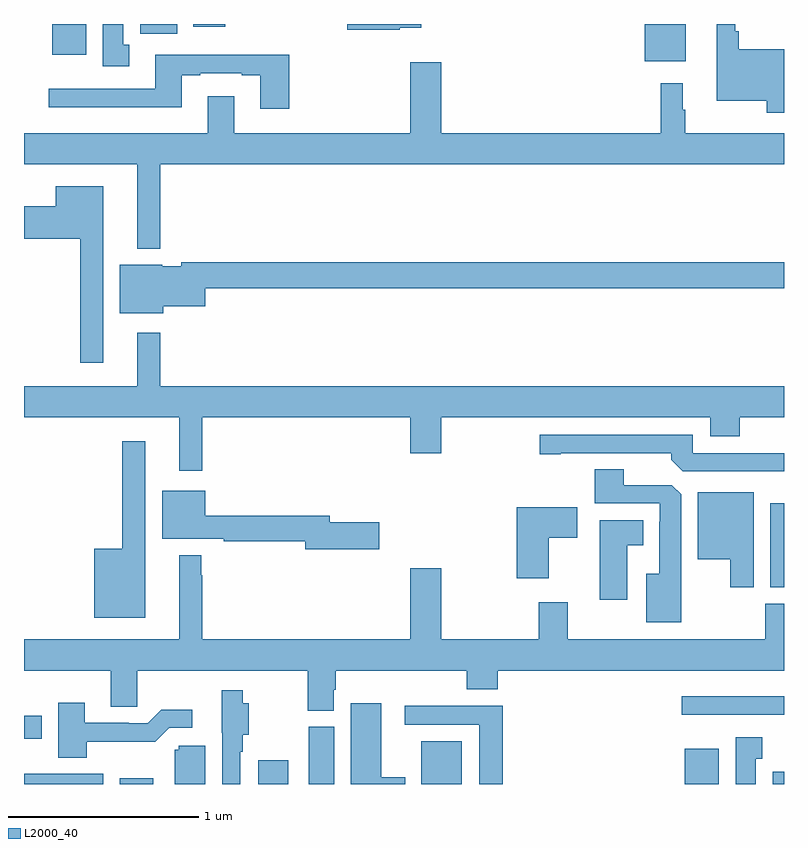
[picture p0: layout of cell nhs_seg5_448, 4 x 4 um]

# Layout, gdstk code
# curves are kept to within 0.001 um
import gdstk
lib = gdstk.Library(unit=1e-6, precision=1e-09)
def R(c, l, rs):  # rectangles x0, y0, x1, y1
    for r in rs: c.add(gdstk.rectangle(r[:2], r[2:], *l))
def P(c, l, *ps):  # polygons
    for p in ps: c.add(gdstk.Polygon(p, *l))
L2000_40 = (2000, 40)

nhs_seg5_448 = lib.new_cell('nhs_seg5_448')
R(nhs_seg5_448, L2000_40, [(139,886.799,139.418,886.852), (139.503,886.799,139.681,886.828), (140.234,886.799,140.392,886.924), (140.498,886.799,140.632,887.1), (141.092,886.799,141.304,887.023), (142.478,886.799,142.657,886.984), (142.94,886.799,143,886.864), (139,887.036,139.093,887.158), (142.461,887.163,143,887.26), (142.928,887.834,143,888.277), (142.268,890.603,142.483,890.799), (139.148,890.636,139.327,890.799), (139.611,890.748,139.807,890.799), (139.892,890.784,140.059,890.799)])
P(nhs_seg5_448, L2000_40, [(139.555,890.689),(139.522,890.689),(139.522,890.799),(139.415,890.799),(139.415,890.577),(139.555,890.577)],
  [(143,890.665),(142.763,890.665),(142.763,890.761),(142.744,890.761),(142.744,890.799),(142.646,890.799),(142.646,890.396),(142.908,890.396),(142.908,890.331),(143,890.331)],
  [(140.978,890.78),(141.091,890.78),(141.091,890.799),(140.702,890.799),(140.702,890.768),(140.978,890.768)],
  [(140.396,890.638),(139.691,890.638),(139.691,890.457),(139.131,890.457),(139.131,890.36),(139.831,890.36),(139.831,890.529),(139.927,890.529),(139.927,890.541),(140.147,890.541),(140.147,890.529),(140.243,890.529),(140.243,890.352),(140.396,890.352)],
  [(143,890.224),(142.48,890.224),(142.48,890.348),(142.468,890.348),(142.468,890.488),(142.351,890.488),(142.351,890.224),(141.196,890.224),(141.196,890.599),(141.032,890.599),(141.032,890.224),(140.107,890.224),(140.107,890.419),(139.967,890.419),(139.967,890.224),(139,890.224),(139,890.06),(139.595,890.06),(139.595,889.616),(139.717,889.616),(139.717,890.06),(143,890.06)],
  [(139.417,889.945),(139.166,889.945),(139.166,889.84),(139,889.84),(139,889.67),(139.296,889.67),(139.296,889.017),(139.417,889.017)],
  [(139.732,889.313),(139.954,889.313),(139.954,889.408),(143,889.408),(143,889.544),(139.828,889.544),(139.828,889.525),(139.728,889.525),(139.728,889.531),(139.505,889.531),(139.505,889.277),(139.732,889.277)],
  [(139.939,888.728),(141.032,888.728),(141.032,888.54),(141.196,888.54),(141.196,888.728),(142.613,888.728),(142.613,888.629),(142.766,888.629),(142.766,888.728),(143,888.728),(143,888.892),(139.717,888.892),(139.717,889.174),(139.595,889.174),(139.595,888.892),(139,888.892),(139,888.728),(139.817,888.728),(139.817,888.447),(139.939,888.447)],
  [(143,888.54),(142.521,888.54),(142.521,888.636),(141.714,888.636),(141.714,888.535),(141.826,888.535),(141.826,888.54),(142.406,888.54),(142.406,888.506),(142.467,888.444),(143,888.444)],
  [(139.639,888.604),(139.518,888.604),(139.518,888.037),(139.37,888.037),(139.37,887.675),(139.639,887.675)],
  [(142.459,888.323),(142.41,888.372),(142.156,888.372),(142.156,888.455),(142.004,888.455),(142.004,888.276),(142.347,888.276),(142.347,888.179),(142.343,888.179),(142.343,887.905),(142.274,887.905),(142.274,887.651),(142.459,887.651)],
  [(140.869,888.176),(140.608,888.176),(140.608,888.212),(139.954,888.212),(139.954,888.343),(139.727,888.343),(139.727,888.089),(140.05,888.089),(140.05,888.076),(140.48,888.076),(140.48,888.034),(140.869,888.034)],
  [(142.84,888.334),(142.547,888.334),(142.547,887.981),(142.718,887.981),(142.718,887.835),(142.84,887.835)],
  [(141.763,888.094),(141.913,888.094),(141.913,888.256),(141.593,888.256),(141.593,887.883),(141.763,887.883)],
  [(142.174,888.056),(142.258,888.056),(142.258,888.187),(142.031,888.187),(142.031,887.769),(142.174,887.769)],
  [(140.629,887.295),(140.642,887.295),(140.642,887.396),(141.329,887.396),(141.329,887.297),(141.494,887.297),(141.494,887.396),(143,887.396),(143,887.749),(142.9,887.749),(142.9,887.56),(141.862,887.56),(141.862,887.755),(141.71,887.755),(141.71,887.56),(141.196,887.56),(141.196,887.935),(141.032,887.935),(141.032,887.56),(139.939,887.56),(139.939,887.897),(139.932,887.897),(139.932,888.004),(139.817,888.004),(139.817,887.56),(139,887.56),(139,887.396),(139.457,887.396),(139.457,887.206),(139.596,887.206),(139.596,887.396),(140.494,887.396),(140.494,887.185),(140.629,887.185)],
  [(140.139,886.97),(140.152,886.97),(140.152,887.059),(140.184,887.059),(140.184,887.224),(140.152,887.224),(140.152,887.293),(140.042,887.293),(140.042,887.07),(140.043,887.07),(140.043,886.799),(140.139,886.799)],
  [(139.329,887.022),(139.691,887.021),(139.764,887.094),(139.885,887.094),(139.885,887.191),(139.723,887.191),(139.65,887.118),(139.55,887.118),(139.55,887.121),(139.321,887.121),(139.321,887.227),(139.181,887.227),(139.181,886.937),(139.329,886.937)],
  [(141.007,886.834),(140.881,886.834),(140.881,887.224),(140.72,887.224),(140.72,886.799),(141.007,886.799)],
  [(141.521,887.21),(141.003,887.21),(141.003,887.112),(141.395,887.112),(141.395,886.799),(141.521,886.799)],
  [(142.852,886.931),(142.885,886.931),(142.885,887.044),(142.745,887.044),(142.745,886.799),(142.852,886.799)],
  [(139.954,887.001),(139.815,887.001),(139.815,886.98),(139.793,886.98),(139.793,886.799),(139.954,886.799)])

lib.write_gds('nhs_seg5_448.gds')
